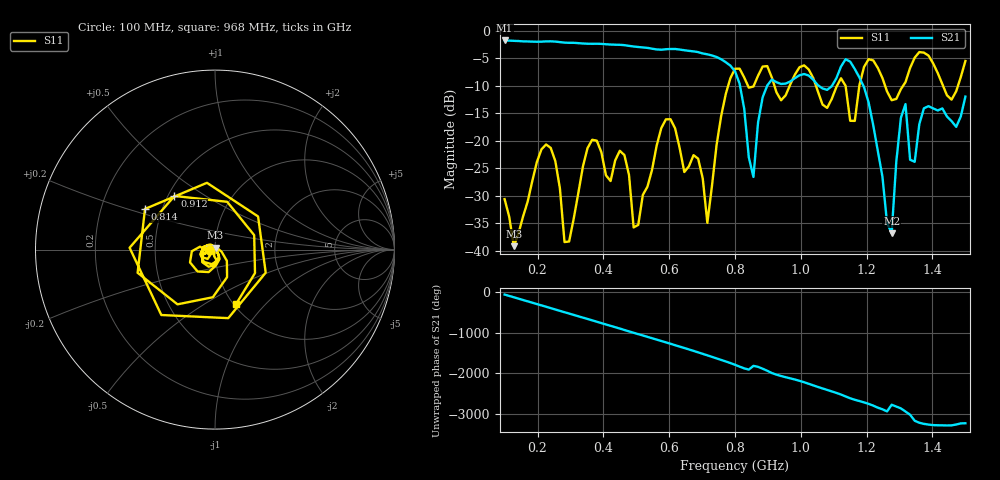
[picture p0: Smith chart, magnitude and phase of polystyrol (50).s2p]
! NanoVNA-App
! Date: 2025-09-26 09:42:16
! Start: 100MHz Stop: 1,5GHz Points: 101
! S-Parameter data: F S11 S21 S12 S22
# Hz S RI R 50
!  Frequency  S11_Real  S11_Imag  S21_Real  S21_Imag  S12_Real  S12_Imag  S22_Real  S22_Imag
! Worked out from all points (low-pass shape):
!   101 points, 100 MHz to 1.5 GHz, reference 50 ohm
!   highest |S21| = -1.79 dB at 100 MHz (marker M1); lowest = -36.8 dB at 1.276 GHz (marker M2)
!   |S21| within 3 dB of the highest: start of sweep to 743.5 MHz
!   lowest |S11| = -39.2 dB at 128 MHz (marker M3), VSWR 1.02, Z = 50.3 + j1.06 ohm
!   |S11| at or under -10 dB: start of sweep to 779.4 MHz; 1.046 GHz to 1.11 GHz (64.52 MHz wide, 5.99 % of centre); 1.256 GHz to 1.311 GHz (55.27 MHz wide, 4.31 % of centre) (the widest 3 of 7)
!   S12 and S22 are empty: the file has one direction only
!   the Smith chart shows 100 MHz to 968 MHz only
!   S11 on the Smith chart (normalised r, x): 100 MHz: 0.94, -0.01; 814 MHz: 0.40, +0.23; 912 MHz: 0.54, +0.38; 968 MHz: 1.03, -0.70
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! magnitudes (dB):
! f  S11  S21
! 100 MHz  -30.7  -1.8
! 128 MHz  -39.2  -1.9
! 212 MHz  -21.6  -2.0
! 254 MHz  -23.7  -2.0
! 282 MHz  -38.5  -2.2
! 338 MHz  -24.7  -2.3
! 464 MHz  -22.6  -2.6
! 492 MHz  -35.8  -2.9
! 576 MHz  -17.7  -3.5
! 688 MHz  -23.3  -3.9
! 716 MHz  -35.0  -4.3
! 800 MHz  -6.9  -7.4
! 814 MHz  -6.9  -9.7
! 856 MHz  -10.2  -26.6
! 912 MHz  -8.5  -8.9
! 968 MHz  -9.8  -9.2
! 1.038 GHz  -8.7  -8.9
! 1.178 GHz  -9.9  -8.5
! 1.276 GHz  -12.7  -36.8
! 1.318 GHz  -9.4  -13.4
! 1.346 GHz  -4.9  -23.9
! 1.5 GHz  -5.5  -12.0
